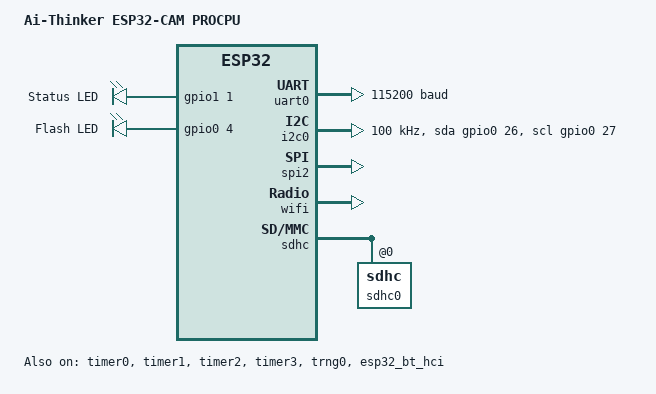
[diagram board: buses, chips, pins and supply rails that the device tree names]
/*
 * Copyright (c) 2025 Muhammad Waleed Badar
 *
 * SPDX-License-Identifier: Apache-2.0
 */
/dts-v1/;

#include <espressif/esp32/esp32_wrover_e_n4r8.dtsi>
#include "esp32_cam-pinctrl.dtsi"
#include <zephyr/dt-bindings/input/input-event-codes.h>
#include <espressif/partitions_0x1000_amp.dtsi>

/ {
	model = "Ai-Thinker ESP32-CAM PROCPU";
	compatible = "aithinker,esp32-cam";

	aliases {
		uart-0 = &uart0;
		led0 = &led0;
		led1 = &led1;
		watchdog0 = &wdt0;
		sdhc0 = &sdhc0;
	};

	leds {
		compatible = "gpio-leds";

		led0: led_0 {
			gpios = <&gpio1 1 GPIO_ACTIVE_HIGH>;
			label = "Status LED";
		};

		led1: led_1 {
			gpios = <&gpio0 4 GPIO_ACTIVE_HIGH>;
			label = "Flash LED";
		};
	};

	chosen {
		zephyr,sram = &sram1;
		zephyr,console = &uart0;
		zephyr,shell-uart = &uart0;
		zephyr,flash = &flash0;
		zephyr,code-partition = &slot0_partition;
		zephyr,bt-hci = &esp32_bt_hci;
		zephyr,sdhc = &sdhc0;
	};
};

&gpio0 {
	status = "okay";
};

&gpio1 {
	status = "okay";
};

&uart0 {
	status = "okay";
	current-speed = <115200>;
	pinctrl-0 = <&uart0_default>;
	pinctrl-names = "default";
};

&i2c0 {
	status = "okay";
	clock-frequency = <I2C_BITRATE_STANDARD>;
	sda-gpios = <&gpio0 26 GPIO_OPEN_DRAIN>;
	scl-gpios = <&gpio0 27 GPIO_OPEN_DRAIN>;
	pinctrl-0 = <&i2c0_default>;
	pinctrl-names = "default";
};

&spi2 {
	#address-cells = <1>;
	#size-cells = <0>;
	status = "okay";
	pinctrl-0 = <&spim2_default>;
	pinctrl-names = "default";
};

&timer0 {
	status = "okay";
};

&timer1 {
	status = "okay";
};

&timer2 {
	status = "okay";
};

&timer3 {
	status = "okay";
};

&trng0 {
	status = "okay";
};

&esp32_bt_hci {
	status = "okay";
};

&wifi {
	status = "okay";
};

&sdhc {
	sdhc0: sdhc@0 {
		status = "okay";

		pinctrl-0 = <&sdhc0_default>;
		pinctrl-names = "default";
		power-delay-ms = <100>;
		max-bus-freq = <52000000>;
		bus-width = <4>;

		clk-pin = <14>;
		cmd-pin = <15>;
		d0-pin = <2>;
		d1-pin = <4>;
		d2-pin = <12>;
		d3-pin = <13>;

		mmc {
			compatible = "zephyr,sdmmc-disk";
			disk-name = "SD";
			status = "okay";
		};
	};
};
